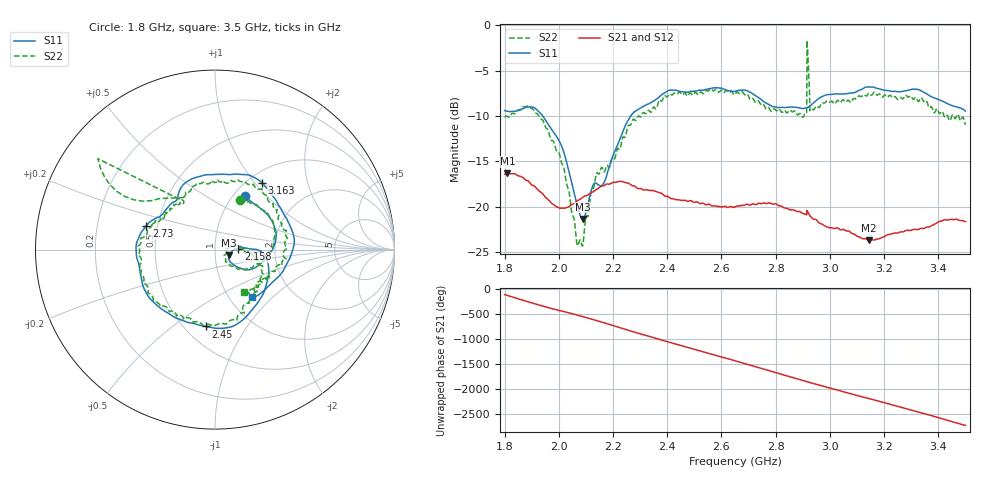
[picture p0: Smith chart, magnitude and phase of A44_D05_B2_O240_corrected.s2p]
! Created with skrf 1.9.0 (http://scikit-rf.org).
# Hz S RI R 50.0
!freq ReS11 ImS11 ReS21 ImS21 ReS12 ImS12 ReS22 ImS22
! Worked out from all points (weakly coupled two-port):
!   1601 points, 1.8 GHz to 3.5 GHz, reference 50 ohm
!   highest |S21| = -16.33 dB at 1.811 GHz (marker M1); lowest = -23.7 dB at 3.143 GHz (marker M2)
!   lowest |S11| = -21.4 dB at 2.089 GHz (marker M3), VSWR 1.19, Z = 58.5 - j3.65 ohm
!   |S11| at or under -10 dB: 1.941 GHz to 2.265 GHz (324.3 MHz wide, 15.4 % of centre)
!   |S22| runs from -24.4 to -1.7 dB; largest |S21 - S12| = 0.0024
!   S11 on the Smith chart (normalised r, x): 1.8 GHz: 1.13, +0.75; 2.158 GHz: 1.30, +0.01; 2.45 GHz: 0.63, -0.66; 2.73 GHz: 0.43, +0.14; 3.163 GHz: 1.16, +1.09; 3.5 GHz: 1.27, -0.76
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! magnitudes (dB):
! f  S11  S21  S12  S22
! 1.8 GHz  -9.4  -16.4  -16.4  -10.1
! 1.811 GHz  -9.5  -16.3  -16.3  -10.0
! 1.885 GHz  -9.0  -17.1  -17.2  -8.9
! 1.941 GHz  -10.0  -18.6  -18.6  -10.5
! 2.013 GHz  -13.5  -20.2  -20.2  -15.3
! 2.067 GHz  -19.7  -19.4  -19.4  -24.1
! 2.084 GHz  -21.3  -19.1  -19.0  -24.1
! 2.089 GHz  -21.4  -19.0  -19.0  -24.2
! 2.127 GHz  -17.6  -18.4  -18.3  -18.0
! 2.158 GHz  -17.7  -17.7  -17.7  -15.7
! 2.262 GHz  -10.1  -17.5  -17.5  -11.0
! 2.367 GHz  -8.0  -18.4  -18.4  -8.5
! 2.45 GHz  -7.3  -19.3  -19.3  -7.5
! 2.65 GHz  -7.3  -20.1  -20.0  -7.6
! 2.73 GHz  -7.8  -19.8  -19.8  -8.4
! 2.902 GHz  -9.2  -20.8  -20.8  -10.1
! 2.924 GHz  -8.9  -20.9  -20.9  -7.0
! 2.934 GHz  -8.7  -21.2  -21.2  -9.2
! 3.143 GHz  -6.8  -23.7  -23.6  -7.5
! 3.163 GHz  -6.8  -23.7  -23.6  -7.4
! 3.217 GHz  -7.2  -23.1  -23.0  -7.8
! 3.5 GHz  -9.5  -21.7  -21.6  -11.0
